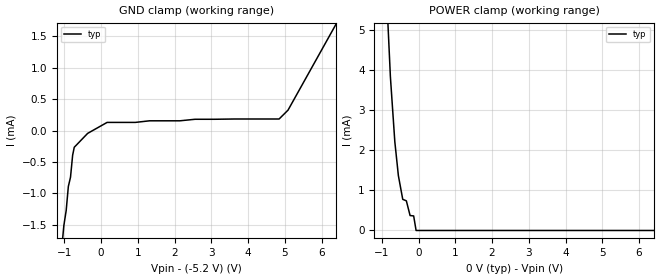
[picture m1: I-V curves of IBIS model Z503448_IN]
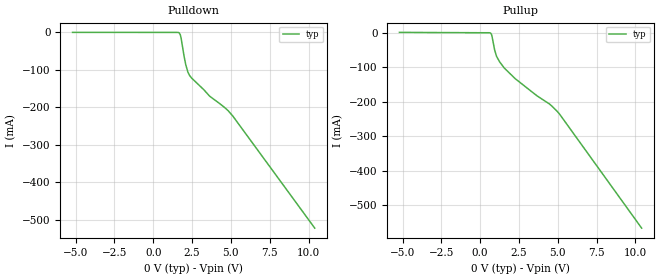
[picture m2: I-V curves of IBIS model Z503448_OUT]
| YOU ARE ONLY AUTHORIZED TO USE THIS SOFTWARE
| ACCORDING TO LICENSOR'S LICENSE RESTRICTIONS.
[IBIS Ver] 3.1
[File Name] mc10h136l.ibs
[File Rev] 2.0
[Source] Measured and created by ICX Technology
[Date] Friday 7/14/00 9:07:50 AM
[Copyright]
| (C) COPYRIGHT 1993-2000
| MENTOR GRAPHICS CORPORATION
| ICX STANDARD LIBRARY, ICX PROJECT MODELING,
| ICX CUSTOM MODELING, ICX VENDOR MODEL
| ALL RIGHTS RESERVED.
| THE FOLLOWING ARE TRADEMARKS OR SERVICE MARKS OF
| MENTOR GRAPHICS CORPORATION:ICX (R), ICX STANDARD
| LIBRARY(R), ICX PROJECT MODELING(R), ICX CUSTOM
| MODELING(R), qualityIBIS(TM), MODELVIEWER(TM),
| AND MODELEDITOR(TM)
| ALL COPIES OF SOFTWARE, INCLUDING BUT NOT LIMITED TO
| ANY MODIFICATIONS, ENHANCEMENTS OR DERIVATIVE WORKS,
| MUST CONTAIN ALL MENTOR GRAPHICS CORPORATION'S
| NOTICES AND LEGENDS, INCLUDING THOSE EMBEDDED IN
| SOFTWARE AND THOSE AFFIXED TO SOFTWARE MEDIUM
| AND CONTAINER, AS RECEIVED FROM MENTOR GRAPHICS
| CORPORATION.
|  ZAP Model Builder 2.7
[Component] MC10H136L
[Manufacturer] OnSemiconductor
[Package]
| variable   typ   min   max
R_pkg  .212ohms NA NA
L_pkg  4.758nH NA NA
C_pkg  1.944pF NA NA
[Pin] signal_name  model_name  R_pin  L_pin C_pin
1 VCC1 POWER .224 7.258n 2.683p
2 Q2 Z503448_OUT .216 5.258n 2.19p
3 Q3 Z503448_OUT .208 3.758n 1.697p
4 _CO Z503448_OUT .2 2.758n 1.204p
5 D3 Z503448_IN .2 2.758n 1.204p
6 D2 Z503448_IN .208 3.758n 1.697p
7 S2 Z503448_IN .216 5.258n 2.19p
8 VEE POWER .224 7.258n 2.683p
9 S1 Z503448_IN .224 7.258n 2.683p
10 _CI Z503448_IN .216 5.258n 2.19p
11 D1 Z503448_IN .208 3.758n 1.697p
12 D0 Z503448_IN .2 2.758n 1.204p
13 CLK Z503448_IN .2 2.758n 1.204p
14 Q0 Z503448_OUT .208 3.758n 1.697p
15 Q1 Z503448_OUT .216 5.258n 2.19p
16 VCC2 POWER .224 7.258n 2.683p
| Models and submodels in the file (2): Z503448_IN (Input_ECL), Z503448_OUT (Output_ECL)
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| (C) COPYRIGHT 1993-2000
| MENTOR GRAPHICS CORPORATION
| ICX STANDARD LIBRARY, ICX PROJECT MODELING,
| ICX CUSTOM MODELING, ICX VENDOR MODEL
| ALL RIGHTS RESERVED.
| THE FOLLOWING ARE TRADEMARKS OR SERVICE MARKS OF
| MENTOR GRAPHICS CORPORATION:ICX (R), ICX STANDARD
| LIBRARY(R), ICX PROJECT MODELING(R), ICX CUSTOM
| MODELING(R), qualityIBIS(TM), MODELVIEWER(TM),
| AND MODELEDITOR(TM)
| ALL COPIES OF SOFTWARE, INCLUDING BUT NOT LIMITED TO
| ANY MODIFICATIONS, ENHANCEMENTS OR DERIVATIVE WORKS,
| MUST CONTAIN ALL MENTOR GRAPHICS CORPORATION'S
| NOTICES AND LEGENDS, INCLUDING THOSE EMBEDDED IN
| SOFTWARE AND THOSE AFFIXED TO SOFTWARE MEDIUM
| AND CONTAINER, AS RECEIVED FROM MENTOR GRAPHICS
| CORPORATION.
| Model Application Version 1.89 2/18/99.
[Model] Z503448_IN
Model_type Input_ECL
Vinl = -1.480V
Vinh = -1.130V
C_comp 4.000pF NA NA
| variable typ   min   max
[Voltage Range] -5.200V NA NA
[GND Clamp Reference] -5.200V NA NA
[POWER Clamp Reference] 0.000V NA NA
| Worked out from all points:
|   GND clamp passes 1 mA (typ) near -0.91 V on its own axis
|   POWER clamp passes 1 mA (typ) near -0.47 V on its own axis
[GND Clamp]
-5.2V     -63.05mA   NA         NA
-1.382V   -3.85mA    NA         NA
-1.011V   -1.515mA   NA         NA
-947mV    -1.273mA   NA         NA
-889mV    -893.1uA   NA         NA
-830mV    -744.9uA   NA         NA
-772mV    -394uA     NA         NA
-728mV    -266.9uA   NA         NA
166mV     129.6uA    NA         NA
4.845V    183.8uA    NA         NA
5.088V    325uA      NA         NA
10.4V     5.901mA    NA         NA
[POWER Clamp]
-5.2V     190.8mA    NA         NA
-1.035V   9.171mA    NA         NA
-765mV    3.832mA    NA         NA
-644.5mV  2.212mA    NA         NA
-547.7mV  1.367mA    NA         NA
-428.9mV  775.9uA    NA         NA
-330.8mV  738.9uA    NA         NA
-229.4mV  372.3uA    NA         NA
-131.8mV  362.5uA    NA         NA
-65.9mV   0A         NA         NA
10.4V     0A         NA         NA
| (C) COPYRIGHT 1993-2000
| MENTOR GRAPHICS CORPORATION
| ICX STANDARD LIBRARY, ICX PROJECT MODELING,
| ICX CUSTOM MODELING, ICX VENDOR MODEL
| ALL RIGHTS RESERVED.
| THE FOLLOWING ARE TRADEMARKS OR SERVICE MARKS OF
| MENTOR GRAPHICS CORPORATION:ICX (R), ICX STANDARD
| LIBRARY(R), ICX PROJECT MODELING(R), ICX CUSTOM
| MODELING(R), qualityIBIS(TM), MODELVIEWER(TM),
| AND MODELEDITOR(TM)
| ALL COPIES OF SOFTWARE, INCLUDING BUT NOT LIMITED TO
| ANY MODIFICATIONS, ENHANCEMENTS OR DERIVATIVE WORKS,
| MUST CONTAIN ALL MENTOR GRAPHICS CORPORATION'S
| NOTICES AND LEGENDS, INCLUDING THOSE EMBEDDED IN
| SOFTWARE AND THOSE AFFIXED TO SOFTWARE MEDIUM
| AND CONTAINER, AS RECEIVED FROM MENTOR GRAPHICS
| CORPORATION.
| Model Application Version 1.89 2/18/99.
[Model] Z503448_OUT
Model_type Output_ECL
Vref=-2.000V
Rref=50.00ohms
Cref=0.000F
Vmeas=-1.305V
C_comp 8.000pF NA NA
| variable typ   min   max
[Voltage Range] -5.200V NA NA
[POWER Clamp Reference] 0.000V NA NA
[Pullup Reference] 0.000V NA NA
[Pulldown Reference] 0.000V NA NA
[GND Clamp Reference] -5.200V NA NA
[GND Clamp]
-5.2V     0A         NA         NA
10.4V     0A         NA         NA
[Pulldown]
-5.2V     191.1uA    NA         NA
1.665V    -897.2uA   NA         NA
1.738V    -6.085mA   NA         NA
1.791V    -15.11mA   NA         NA
1.992V    -65.76mA   NA         NA
2.088V    -85.81mA   NA         NA
2.227V    -105.9mA   NA         NA
2.339V    -115.1mA   NA         NA
3.633V    -170.5mA   NA         NA
4.638V    -202.2mA   NA         NA
5.117V    -223.2mA   NA         NA
10.4V     -523mA     NA         NA
[Pullup]
-5.2V     1.071mA    NA         NA
683.6mV   -1.654mA   NA         NA
759.4mV   -9.345mA   NA         NA
932.6mV   -50.19mA   NA         NA
1.05V     -67.95mA   NA         NA
1.25V     -84.31mA   NA         NA
1.554V    -102.4mA   NA         NA
2.256V    -133.3mA   NA         NA
3.658V    -183mA     NA         NA
4.452V    -206.4mA   NA         NA
5.102V    -235.4mA   NA         NA
10.4V     -567mA     NA         NA
[POWER Clamp]
-5.2V     0A         NA         NA
10.4V     0A         NA         NA
[Ramp]
| variable typ min max
dV/dt_r 572.9m/1.153n NA NA
dV/dt_f 572.9m/1.534n NA NA
R_load = 500.0Ohms
